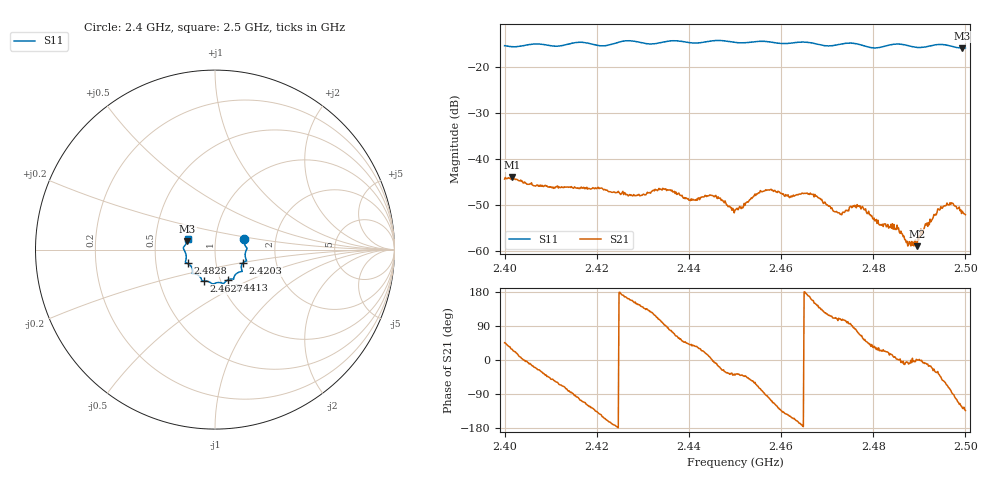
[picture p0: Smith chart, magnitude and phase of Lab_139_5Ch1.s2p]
# Hz S RI R 50
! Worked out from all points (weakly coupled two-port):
!   601 points, 2.4 GHz to 2.5 GHz, reference 50 ohm
!   highest |S21| = -43.90 dB at 2.4017 GHz (marker M1); lowest = -58.9 dB at 2.4895 GHz (marker M2)
!   lowest |S11| = -15.8 dB at 2.4993 GHz (marker M3), VSWR 1.39, Z = 36.5 + j3.62 ohm
!   |S11| at or under -10 dB: start of sweep to end of sweep
!   S12 and S22 are empty: the file has one direction only
!   S11 on the Smith chart (normalised r, x): 2.4 GHz: 1.37, +0.17; 2.4203 GHz: 1.35, -0.20; 2.4413 GHz: 1.09, -0.38; 2.4627 GHz: 0.83, -0.30; 2.4828 GHz: 0.73, -0.11; 2.5 GHz: 0.73, +0.09
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2.4e9  0.1615 0.0584  0.00427 0.00437  0 0  0 0
2.401667e9  0.1626 0.0401  0.00564 0.00299  0 0  0 0
2.416667e9  0.1763 -0.0622  -0.00145 -0.00479  0 0  0 0
2.420333e9  0.1561 -0.0732  -0.00379 -0.00322  0 0  0 0
2.427333e9  0.1509 -0.1218  -0.00377 0.00149  0 0  0 0
2.433333e9  0.1076 -0.148  -0.00144 0.00444  0 0  0 0
2.441333e9  0.0751 -0.1674  0.00293 0.00214  0 0  0 0
2.445333e9  0.0511 -0.1874  0.00399 -0.000201  0 0  0 0
2.45e9  0.0304 -0.184  0.00217 -0.00182  0 0  0 0
2.456833e9  -0.016 -0.1898  -0.000333 -0.00459  0 0  0 0
2.462667e9  -0.0616 -0.174  -0.0037 -0.00174  0 0  0 0
2.466667e9  -0.0745 -0.1681  -0.00388 0.00152  0 0  0 0
2.472667e9  -0.1157 -0.1341  -0.000834 0.00248  0 0  0 0
2.477333e9  -0.1245 -0.1227  0.00127 0.0026  0 0  0 0
2.482833e9  -0.1531 -0.0767  0.00172 0.000676  0 0  0 0
2.483333e9  -0.1568 -0.075  0.00169 0.000586  0 0  0 0
2.487667e9  -0.1618 -0.0569  0.00116 -0.00022  0 0  0 0
2.4895e9  -0.1603 -0.0364  0.00114 1.46e-05  0 0  0 0
2.4945e9  -0.1767 0.00943  0.0021 -0.00192  0 0  0 0
2.497e9  -0.1679 0.023  0.000275 -0.00337  0 0  0 0
2.499333e9  -0.1541 0.0482  -0.00162 -0.00221  0 0  0 0
2.5e9  -0.1519 0.0575  -0.00172 -0.00182  0 0  0 0
